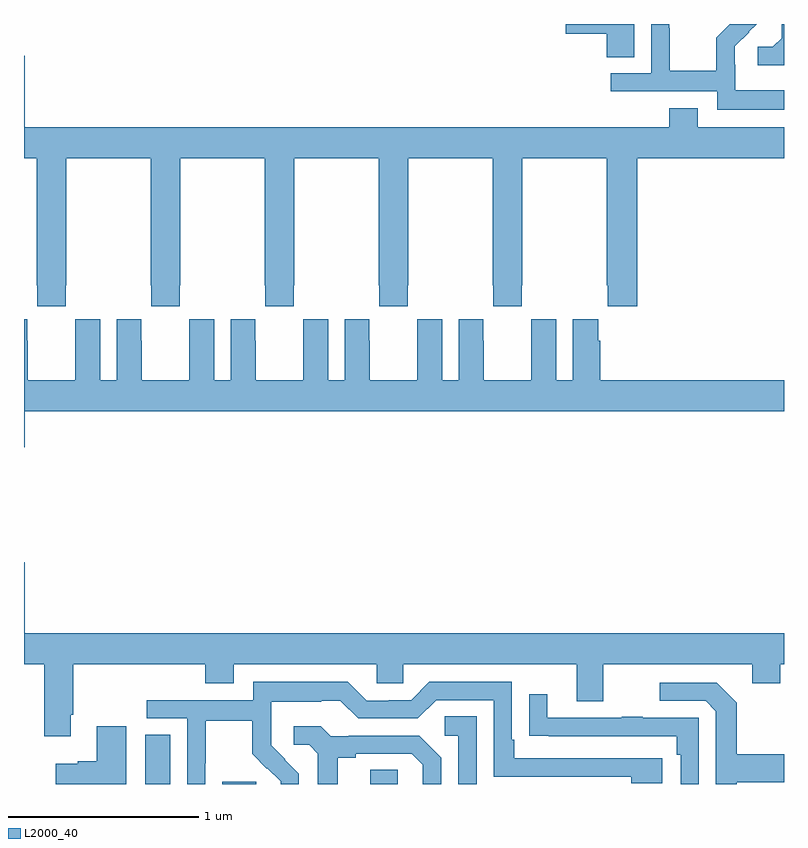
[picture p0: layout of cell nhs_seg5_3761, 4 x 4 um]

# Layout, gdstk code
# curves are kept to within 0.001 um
import gdstk
lib = gdstk.Library(unit=1e-6, precision=1e-09)
def R(c, l, rs):  # rectangles x0, y0, x1, y1
    for r in rs: c.add(gdstk.rectangle(r[:2], r[2:], *l))
def P(c, l, *ps):  # polygons
    for p in ps: c.add(gdstk.Polygon(p, *l))
L2000_40 = (2000, 40)

nhs_seg5_3761 = lib.new_cell('nhs_seg5_3761')
R(nhs_seg5_3761, L2000_40, [(333.638,854.799,333.769,855.059), (334.043,854.799,334.222,854.811), (334.823,854.799,334.968,854.873)])
P(nhs_seg5_3761, L2000_40, [(337,858.799),(336.989,858.799),(336.989,858.725),(336.942,858.678),(336.861,858.678),(336.861,858.581),(337,858.581)],
  [(336.211,858.799),(335.85,858.799),(335.85,858.749),(336.068,858.749),(336.068,858.625),(336.211,858.625)],
  [(337,858.451),(336.744,858.451),(336.744,858.585),(336.742,858.585),(336.742,858.682),(336.857,858.799),(336.715,858.799),(336.643,858.727),(336.643,858.553),(336.399,858.553),(336.399,858.776),(336.396,858.776),(336.396,858.799),(336.3,858.799),(336.3,858.54),(336.087,858.54),(336.087,858.444),(336.648,858.444),(336.648,858.347),(337,858.347)],
  [(333.004,858.631),(333,858.631),(333,858.092),(333.067,858.092),(333.067,857.425),(333.069,857.425),(333.069,857.313),(333.219,857.313),(333.219,857.425),(333.222,857.425),(333.222,858.092),(333.667,858.092),(333.667,857.425),(333.669,857.425),(333.669,857.313),(333.819,857.313),(333.819,857.425),(333.822,857.425),(333.822,858.092),(334.267,858.092),(334.267,857.425),(334.269,857.425),(334.269,857.313),(334.419,857.313),(334.419,857.425),(334.422,857.425),(334.422,858.092),(334.867,858.092),(334.867,857.425),(334.869,857.425),(334.869,857.313),(335.019,857.313),(335.019,857.425),(335.022,857.425),(335.022,858.092),(335.467,858.092),(335.467,857.425),(335.469,857.425),(335.469,857.313),(335.619,857.313),(335.619,857.425),(335.622,857.425),(335.622,858.092),(336.067,858.092),(336.067,857.425),(336.073,857.425),(336.073,857.313),(336.227,857.313),(336.227,858.092),(337,858.092),(337,858.256),(336.547,858.256),(336.547,858.355),(336.395,858.355),(336.395,858.256),(333.004,858.256)],
  [(337,856.924),(336.032,856.924),(336.032,857.132),(336.022,857.132),(336.022,857.245),(335.888,857.245),(335.888,856.924),(335.8,856.924),(335.8,857.245),(335.67,857.245),(335.67,857.132),(335.669,857.132),(335.669,856.924),(335.419,856.924),(335.419,857.132),(335.418,857.132),(335.418,857.245),(335.288,857.245),(335.288,856.924),(335.2,856.924),(335.2,857.245),(335.07,857.245),(335.07,857.132),(335.069,857.132),(335.069,856.924),(334.819,856.924),(334.819,857.132),(334.818,857.132),(334.818,857.245),(334.688,857.245),(334.688,856.924),(334.6,856.924),(334.6,857.245),(334.47,857.245),(334.47,857.132),(334.469,857.132),(334.469,856.924),(334.219,856.924),(334.219,857.132),(334.218,857.132),(334.218,857.245),(334.088,857.245),(334.088,856.924),(334,856.924),(334,857.245),(333.87,857.245),(333.87,857.132),(333.869,857.132),(333.869,856.924),(333.619,856.924),(333.619,857.132),(333.618,857.132),(333.618,857.245),(333.488,857.245),(333.488,856.924),(333.4,856.924),(333.4,857.245),(333.27,857.245),(333.27,857.132),(333.269,857.132),(333.269,856.924),(333.019,856.924),(333.019,857.132),(333.018,857.132),(333.018,857.245),(333,857.245),(333,856.572),(333.004,856.572),(333.004,856.76),(337,856.76)],
  [(333.247,855.163),(333.26,855.163),(333.26,855.428),(333.953,855.428),(333.953,855.329),(334.105,855.329),(334.105,855.428),(334.857,855.428),(334.857,855.33),(334.995,855.33),(334.995,855.428),(335.909,855.428),(335.909,855.234),(336.049,855.234),(336.049,855.428),(336.833,855.428),(336.833,855.329),(336.981,855.329),(336.981,855.428),(337,855.428),(337,855.592),(333.004,855.592),(333.004,855.967),(333,855.967),(333,855.428),(333.107,855.428),(333.107,855.051),(333.247,855.051)],
  [(333.954,854.908),(333.957,854.908),(333.957,855.132),(334.201,855.132),(334.201,854.957),(334.278,854.88),(334.281,854.883),(334.352,854.813),(334.352,854.799),(334.446,854.799),(334.446,854.854),(334.3,855.002),(334.3,855.099),(334.302,855.099),(334.302,855.233),(334.565,855.233),(334.565,855.237),(334.665,855.237),(334.758,855.144),(335.073,855.144),(335.169,855.24),(335.472,855.24),(335.472,854.838),(336.197,854.838),(336.197,854.804),(336.358,854.804),(336.358,854.934),(335.581,854.934),(335.581,855.031),(335.568,855.031),(335.568,855.336),(335.133,855.336),(335.037,855.24),(334.919,855.24),(334.919,855.237),(334.803,855.237),(334.703,855.337),(334.206,855.337),(334.206,855.24),(333.645,855.24),(333.645,855.144),(333.858,855.144),(333.858,854.799),(333.954,854.799)],
  [(336.751,854.807),(337,854.807),(337,854.955),(336.751,854.955),(336.751,855.227),(336.645,855.333),(336.345,855.333),(336.345,855.237),(336.588,855.237),(336.642,855.183),(336.642,854.799),(336.751,854.799)],
  [(336.552,855.147),(336.257,855.147),(336.257,855.152),(336.145,855.152),(336.145,855.147),(335.755,855.147),(335.755,855.271),(335.659,855.271),(335.659,855.052),(335.761,855.052),(335.761,855.051),(336.436,855.051),(336.436,854.954),(336.456,854.954),(336.456,854.799),(336.552,854.799)],
  [(335.382,855.155),(335.214,855.155),(335.214,855.054),(335.286,855.054),(335.286,854.799),(335.382,854.799)],
  [(334.651,854.936),(334.747,854.936),(334.747,854.958),(335.042,854.958),(335.099,854.901),(335.099,854.799),(335.196,854.799),(335.196,854.938),(335.08,855.054),(334.708,855.054),(334.708,855.051),(334.614,855.051),(334.562,855.103),(334.419,855.103),(334.419,855.006),(334.5,855.006),(334.547,854.959),(334.547,854.799),(334.651,854.799)],
  [(333.538,855.103),(333.383,855.103),(333.383,854.918),(333.284,854.918),(333.284,854.905),(333.168,854.905),(333.168,854.799),(333.538,854.799)])

lib.write_gds('nhs_seg5_3761.gds')
